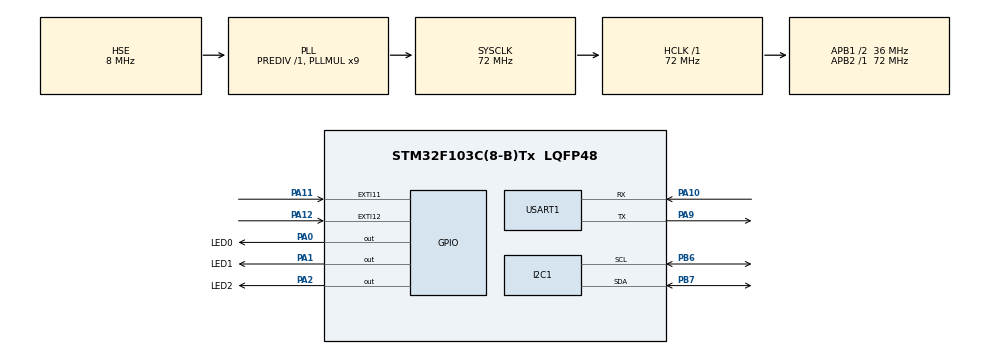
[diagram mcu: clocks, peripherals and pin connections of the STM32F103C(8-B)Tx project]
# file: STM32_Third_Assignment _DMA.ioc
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Dma.Request0=USART1_TX
Dma.USART1_TX.0.Direction=DMA_MEMORY_TO_PERIPH
Dma.USART1_TX.0.Instance=DMA1_Channel4
Dma.USART1_TX.0.MemDataAlignment=DMA_MDATAALIGN_BYTE
Dma.USART1_TX.0.MemInc=DMA_MINC_ENABLE
Dma.USART1_TX.0.Mode=DMA_NORMAL
Dma.USART1_TX.0.PeriphDataAlignment=DMA_PDATAALIGN_BYTE
Dma.USART1_TX.0.PeriphInc=DMA_PINC_DISABLE
Dma.USART1_TX.0.Priority=DMA_PRIORITY_LOW
Mcu.Family=STM32F1
Mcu.Name=STM32F103C(8-B)Tx
Mcu.Package=LQFP48
NVIC.DMA1_Channel4_IRQn=true\:0\:0\:false\:false\:true\:false\:true\:true
NVIC.EXTI15_10_IRQn=true\:0\:0\:false\:false\:true\:true\:true\:true
NVIC.PriorityGroup=NVIC_PRIORITYGROUP_4
NVIC.USART1_IRQn=true\:0\:0\:false\:false\:true\:true\:true\:true
PA0-WKUP.GPIO_Label=LED0
PA0-WKUP.Signal=GPIO_Output
PA1.GPIO_Label=LED1
PA1.Signal=GPIO_Output
PA10.Mode=Asynchronous
PA10.Signal=USART1_RX
PA11.GPIO_ModeDefaultEXTI=GPIO_MODE_IT_FALLING
PA11.GPIO_PuPd=GPIO_PULLUP
PA11.Signal=GPXTI11
PA12.GPIO_ModeDefaultEXTI=GPIO_MODE_IT_FALLING
PA12.GPIO_PuPd=GPIO_PULLUP
PA12.Signal=GPXTI12
PA13.Mode=Serial_Wire
PA13.Signal=SYS_JTMS-SWDIO
PA14.Mode=Serial_Wire
PA14.Signal=SYS_JTCK-SWCLK
PA2.GPIO_Label=LED2
PA2.GPIO_PuPd=GPIO_NOPULL
PA2.Signal=GPIO_Output
PA9.Mode=Asynchronous
PA9.Signal=USART1_TX
PB6.Mode=I2C
PB6.Signal=I2C1_SCL
PB7.Mode=I2C
PB7.Signal=I2C1_SDA
PD0-OSC_IN.Mode=HSE-External-Oscillator
PD0-OSC_IN.Signal=RCC_OSC_IN
PD1-OSC_OUT.Mode=HSE-External-Oscillator
PD1-OSC_OUT.Signal=RCC_OSC_OUT
ProjectManager.HeapSize=0x200
ProjectManager.StackSize=0x400
ProjectManager.TargetToolchain=CMake
RCC.AHBFreq_Value=72000000
RCC.APB1CLKDivider=RCC_HCLK_DIV2
RCC.APB1Freq_Value=36000000
RCC.APB1TimFreq_Value=72000000
RCC.APB2Freq_Value=72000000
RCC.APB2TimFreq_Value=72000000
RCC.HCLKFreq_Value=72000000
RCC.PLLMUL=RCC_PLL_MUL9
RCC.PLLSourceVirtual=RCC_PLLSOURCE_HSE
RCC.SYSCLKFreq_VALUE=72000000
RCC.SYSCLKSource=RCC_SYSCLKSOURCE_PLLCLK
RCC.USBFreq_Value=72000000
USART1.VirtualMode=VM_ASYNC
board=custom

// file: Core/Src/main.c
/* USER CODE BEGIN Header */
/**
  ******************************************************************************
  * @file           : main.c
  * @brief          : Main program body
  ******************************************************************************
  * @attention
  *
  * Copyright (c) 2026 STMicroelectronics.
  * All rights reserved.
  *
  * This software is licensed under terms that can be found in the LICENSE file
  * in the root directory of this software component.
  * If no LICENSE file comes with this software, it is provided AS-IS.
  *
  ******************************************************************************
  */
/* USER CODE END Header */
#include "main.h"
#include "dma.h"
#include "i2c.h"
#include "usart.h"
#include "gpio.h"

/* USER CODE BEGIN Includes */

#include <stdio.h>
#include "OLED.h"

/* USER CODE END Includes */

/* USER CODE BEGIN PTD */

typedef struct __attribute__((packed))
{
  uint8_t header;
  uint8_t run;
  uint8_t dir;
  uint16_t interval_ms;
  uint8_t checksum;
} ControlPacket;

/* USER CODE END PTD */

/* USER CODE BEGIN PV */

volatile uint8_t key_pa11_event = 0;
volatile uint8_t key_pa12_event = 0;

uint8_t flow_running = 1;
uint8_t flow_reverse = 0;
uint16_t flow_interval_ms = 500;

uint32_t key_pa11_last_tick = 0;
uint32_t key_pa12_last_tick = 0;

ControlPacket rx_packet;
volatile uint8_t packet_ready = 0;

static uint8_t uart_tx_buffer[80];
volatile uint8_t uart_tx_busy = 0;
uint8_t status_feedback_pending = 0;

/* USER CODE END PV */

void SystemClock_Config(void);

int main(void)
{

  /* MCU Configuration--------------------------------------------------------*/

  /* Reset of all peripherals, Initializes the Flash interface and the Systick. */
  HAL_Init();

  /* Configure the system clock */
  SystemClock_Config();

  /* Initialize all configured peripherals */
  MX_GPIO_Init();
  MX_DMA_Init();
  MX_USART1_UART_Init();
  MX_I2C1_Init();
  /* USER CODE BEGIN 2 */
  uint32_t previousTick = HAL_GetTick();
  uint8_t ledIndex = 0;

  HAL_GPIO_WritePin(LED0_GPIO_Port, LED0_Pin, GPIO_PIN_RESET);
  HAL_GPIO_WritePin(LED1_GPIO_Port, LED1_Pin, GPIO_PIN_RESET);
  HAL_GPIO_WritePin(LED2_GPIO_Port, LED2_Pin, GPIO_PIN_RESET);
  HAL_GPIO_WritePin(LED0_GPIO_Port, LED0_Pin, GPIO_PIN_SET);

  HAL_UART_Receive_IT(&huart1,
                      (uint8_t *)&rx_packet,
                      sizeof(rx_packet));

  OLED_Init();

  // OLED_ShowString(1, 1, "STATE: RUN");
  // OLED_ShowString(2, 1, "DIR: FWD");
  // OLED_ShowString(3, 1, "STEP: 0300ms");
  // OLED_ShowString(4, 1, "LED: 1");

  /* USER CODE END 2 */

  /* Infinite loop */
  while (1)
  {

    /* USER CODE BEGIN 3 */

    if (packet_ready)
    {
      ControlPacket packet = rx_packet;
      packet_ready = 0;

      const uint8_t *bytes = (const uint8_t *)&packet;

      uint8_t expected = (uint8_t)(
          bytes[0] + bytes[1] + bytes[2] +
          bytes[3] + bytes[4]);

      if (packet.header == 0xAA &&
          packet.checksum == expected &&
          packet.run <= 1U &&
          packet.dir <= 1U &&
          packet.interval_ms >= 100U &&
          packet.interval_ms <= 2000U)
      {
        flow_running = packet.run;
        flow_reverse = packet.dir;
        flow_interval_ms = packet.interval_ms;

        previousTick = HAL_GetTick();
        status_feedback_pending = 1;
      }

      HAL_UART_Receive_IT(&huart1,
                          (uint8_t *)&rx_packet,
                          sizeof(rx_packet));
    }

    uint32_t now_tick = HAL_GetTick();

    // PA11: 暂停 / 继续
    if (key_pa11_event == 1U)
    {
      key_pa11_last_tick = now_tick;
      key_pa11_event = 2U;
    }
    else if (key_pa11_event == 2U &&
             (uint32_t)(now_tick - key_pa11_last_tick) >= 30U)
    {
      key_pa11_event = 0U;

      if (HAL_GPIO_ReadPin(GPIOA, GPIO_PIN_11) == GPIO_PIN_RESET)
      {
        flow_running = !flow_running;
        status_feedback_pending = 1;

        if (flow_running)
        {
          previousTick = now_tick;
        }
      }
    }

    // PA12: 正向 / 反向
    if (key_pa12_event == 1U)
    {
      key_pa12_last_tick = now_tick;
      key_pa12_event = 2U;
    }
    else if (key_pa12_event == 2U &&
             (uint32_t)(now_tick - key_pa12_last_tick) >= 30U)
    {
      key_pa12_event = 0U;

      if (HAL_GPIO_ReadPin(GPIOA, GPIO_PIN_12) == GPIO_PIN_RESET)
      {
        flow_reverse = !flow_reverse;
        status_feedback_pending = 1;
      }
    }

    if (flow_running &&
        (uint32_t)(HAL_GetTick() - previousTick) >= flow_interval_ms)
    {

      previousTick += flow_interval_ms;

      // 先关闭全部 LED
      HAL_GPIO_WritePin(LED0_GPIO_Port, LED0_Pin, GPIO_PIN_RESET);
      HAL_GPIO_WritePin(LED1_GPIO_Port, LED1_Pin, GPIO_PIN_RESET);
      HAL_GPIO_WritePin(LED2_GPIO_Port, LED2_Pin, GPIO_PIN_RESET);

      // 切换到下一颗 LED

      if (flow_reverse == 0U)
      {
        ledIndex = (ledIndex + 1U) % 3U;
      }
      else
      {
        ledIndex = (ledIndex + 2U) % 3U;
      }

      if (ledIndex == 0U)
      {
        HAL_GPIO_WritePin(LED0_GPIO_Port, LED0_Pin, GPIO_PIN_SET);
      }
      else if (ledIndex == 1U)
      {
        HAL_GPIO_WritePin(LED1_GPIO_Port, LED1_Pin, GPIO_PIN_SET);
      }
      else
      {
        HAL_GPIO_WritePin(LED2_GPIO_Port, LED2_Pin, GPIO_PIN_SET);
      }
    }

  if (status_feedback_pending && !uart_tx_busy)
  {
    int len = snprintf(
        (char *)uart_tx_buffer,
        sizeof(uart_tx_buffer),
        "STATE=%s,DIR=%s,STEP=%u,LED=%u\r\n",
        flow_running ? "RUN" : "PAUSE",
        flow_reverse ? "REV" : "FWD",
        (unsigned int)flow_interval_ms,
        (unsigned int)(ledIndex + 1U)
    );

    if (len > 0 &&
        len < (int)sizeof(uart_tx_buffer))
    {
      uart_tx_busy = 1;

      if (HAL_UART_Transmit_DMA(
              &huart1,
              uart_tx_buffer,
              (uint16_t)len) == HAL_OK)
      {
        status_feedback_pending = 0;
      }
      else
      {
        uart_tx_busy = 0;
      }
    }
  }

  // OLED dynamic status display
  static uint8_t oled_last_run = 255;
  static uint8_t oled_last_dir = 255;
  static uint16_t oled_last_step = 65535;
  static uint8_t oled_last_led = 255;

  // Line 1: RUN / PAUSE
  if (oled_last_run != flow_running)
  {
    OLED_ShowString(1, 1,
        flow_running ? "STATE: RUN   " : "STATE: PAUSE ");
    oled_last_run = flow_running;
  }

  // Line 2: FWD / REV
  if (oled_last_dir != flow_reverse)
  {
    OLED_ShowString(2, 1,
        flow_reverse ? "DIR: REV     " : "DIR: FWD     ");
    oled_last_dir = flow_reverse;
  }

  // Line 3: LED switching interval
  if (oled_last_step != flow_interval_ms)
  {
    OLED_ShowString(3, 1, "STEP: ");
    OLED_ShowNum(3, 7, flow_interval_ms, 4);
    OLED_ShowString(3, 11, "ms");
    oled_last_step = flow_interval_ms;
  }

  // Line 4: Current LED number
  if (oled_last_led != ledIndex)
  {
    OLED_ShowString(4, 1, "LED: ");
    OLED_ShowNum(4, 6, ledIndex + 1U, 1);
    oled_last_led = ledIndex;
  }
  }
  /* USER CODE END 3 */
}

void SystemClock_Config(void)
{
  RCC_OscInitTypeDef RCC_OscInitStruct = {0};
  RCC_ClkInitTypeDef RCC_ClkInitStruct = {0};

  /** Initializes the RCC Oscillators according to the specified parameters
  * in the RCC_OscInitTypeDef structure.
  */
  RCC_OscInitStruct.OscillatorType = RCC_OSCILLATORTYPE_HSE;
  RCC_OscInitStruct.HSEState = RCC_HSE_ON;
  RCC_OscInitStruct.HSEPredivValue = RCC_HSE_PREDIV_DIV1;
  RCC_OscInitStruct.HSIState = RCC_HSI_ON;
  RCC_OscInitStruct.PLL.PLLState = RCC_PLL_ON;
  RCC_OscInitStruct.PLL.PLLSource = RCC_PLLSOURCE_HSE;
  RCC_OscInitStruct.PLL.PLLMUL = RCC_PLL_MUL9;
  if (HAL_RCC_OscConfig(&RCC_OscInitStruct) != HAL_OK)
  {
    Error_Handler();
  }

  /** Initializes the CPU, AHB and APB buses clocks
  */
  RCC_ClkInitStruct.ClockType = RCC_CLOCKTYPE_HCLK|RCC_CLOCKTYPE_SYSCLK
                              |RCC_CLOCKTYPE_PCLK1|RCC_CLOCKTYPE_PCLK2;
  RCC_ClkInitStruct.SYSCLKSource = RCC_SYSCLKSOURCE_PLLCLK;
  RCC_ClkInitStruct.AHBCLKDivider = RCC_SYSCLK_DIV1;
  RCC_ClkInitStruct.APB1CLKDivider = RCC_HCLK_DIV2;
  RCC_ClkInitStruct.APB2CLKDivider = RCC_HCLK_DIV1;

  if (HAL_RCC_ClockConfig(&RCC_ClkInitStruct, FLASH_LATENCY_2) != HAL_OK)
  {
    Error_Handler();
  }
}

/* USER CODE BEGIN 4 */

void HAL_GPIO_EXTI_Callback(uint16_t GPIO_Pin)
{
  if (GPIO_Pin == GPIO_PIN_11)
  {
    key_pa11_event = 1;
  }
  else if (GPIO_Pin == GPIO_PIN_12)
  {
    key_pa12_event = 1;
  }
}

void HAL_UART_RxCpltCallback(UART_HandleTypeDef *huart)
{
  if (huart->Instance == USART1)
  {
    packet_ready = 1;
  }
}

void HAL_UART_TxCpltCallback(UART_HandleTypeDef *huart)
{
  if (huart->Instance == USART1)
  {
    uart_tx_busy = 0;
  }
}

/* USER CODE END 4 */

void Error_Handler(void)
{
  __disable_irq();
  while (1)
  {
  }
}
